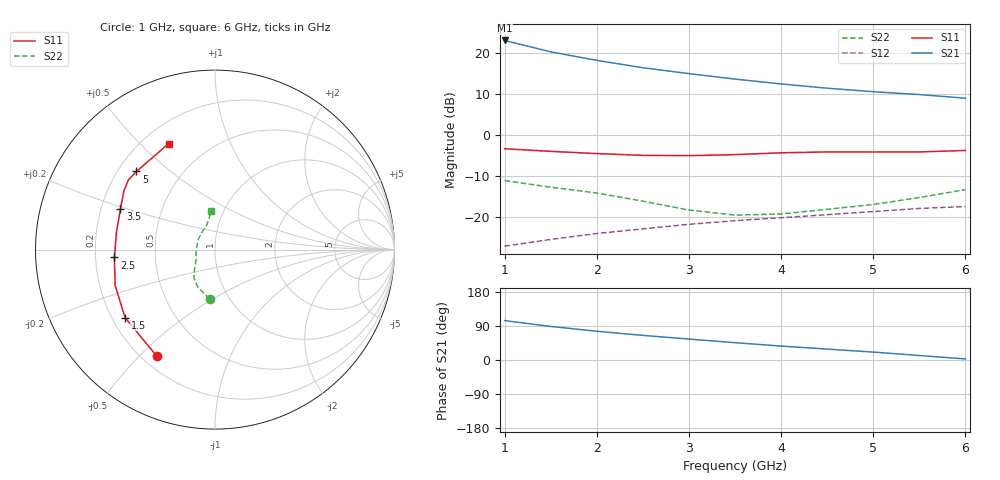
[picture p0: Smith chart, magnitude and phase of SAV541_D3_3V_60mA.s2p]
! Created Mon Oct 27 15:22:56 2008
# hz S ma R 50
! 2 Port Network Data from SP1.SP block
! freq  magS11  angS11  magS21  angS21  magS12  angS12  magS22  angS22
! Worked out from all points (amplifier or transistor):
!   11 points, 1 GHz to 6 GHz, reference 50 ohm
!   highest |S21| = 23.0 dB at 1 GHz (marker M1)
!   |S21| within 3 dB of that: start of sweep to 1.556 GHz
!   unconditionally stable (mu >= 1): 3.791 GHz to end of sweep
!   at 1.5 GHz: K = 0.67, MSG = 22.8 dB, |S12| = -25.5 dB
!   at 3.5 GHz: K = 0.99, MSG = 17.2 dB, |S12| = -20.9 dB
!   at 6 GHz: K = 1.06, MAG = 11.7 dB, |S12| = -17.5 dB
!   S11 on the Smith chart (normalised r, x): 1 GHz: 0.26, -0.57; 1.5 GHz: 0.25, -0.32; 2.5 GHz: 0.28, -0.04; 3.5 GHz: 0.28, +0.19; 5 GHz: 0.27, +0.39; 6 GHz: 0.30, +0.61
1e9  0.677 -118.5  14.06 103.9  0.04411 43.2  0.2774 -96.2
1.5e9  0.6283 -143.0  10.22 88.5  0.05333 39.8  0.2303 -114.5
2e9  0.5908 -160.4  8.05 75.9  0.06289 36.3  0.1957 -127.0
2.5e9  0.5619 -175.6  6.55 65.0  0.07165 33.7  0.1556 -137.0
3e9  0.5576 170.3  5.548 55.3  0.08138 30.0  0.1213 -150.6
3.5e9  0.5737 156.6  4.763 45.7  0.09009 25.4  0.1053 -176.2
4e9  0.6037 147.2  4.157 36.8  0.09796 21.3  0.1087 150.8
4.5e9  0.6187 141.4  3.689 28.8  0.1066 18.0  0.124 124.3
5e9  0.6175 135.2  3.346 20.9  0.1164 13.7  0.1419 109.5
5.5e9  0.6184 124.9  3.088 11.9  0.127 8.1  0.1722 101.8
6e9  0.6446 113.7  2.788 2.8  0.134 1.9  0.2153 95.6
